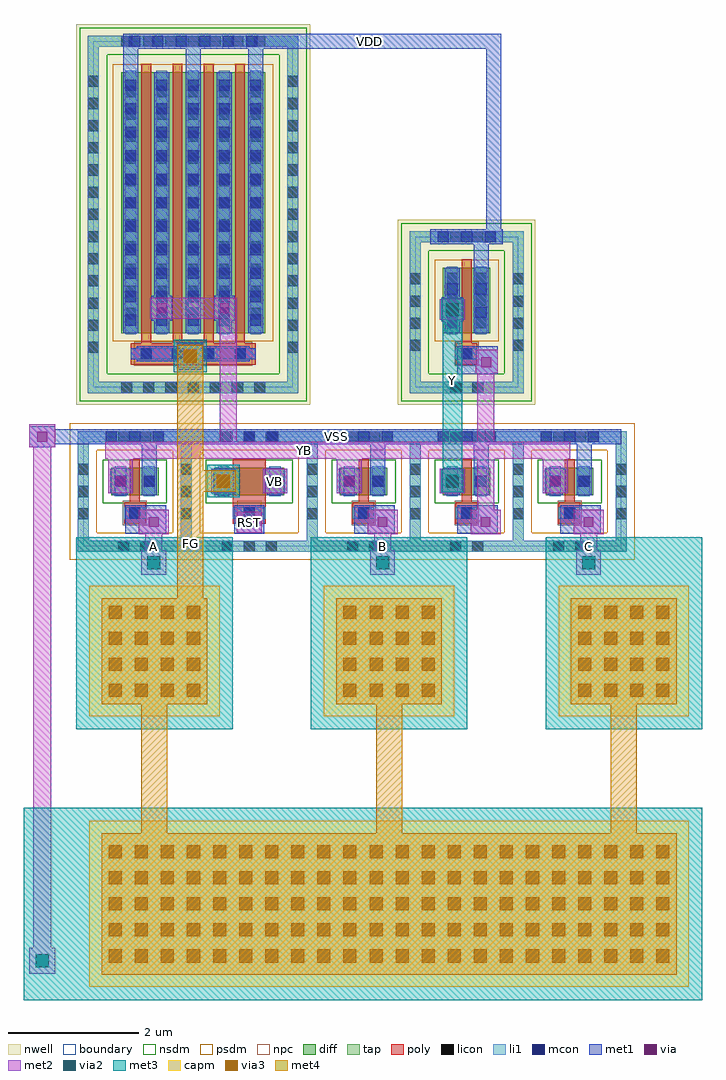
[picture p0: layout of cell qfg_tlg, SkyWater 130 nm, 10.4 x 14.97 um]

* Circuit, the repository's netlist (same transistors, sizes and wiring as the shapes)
* schematic netlist of the v2 cell (generated from sim/v2/ngs.py)

.subckt qfg_tlg A B C RST VB Y YB FG VDD VSS
XMP  YB FG VDD VDD sky130_fd_pr__pfet_01v8 W=16.0 L=0.15
XMNI0 YB A VSS VSS sky130_fd_pr__nfet_01v8 W=0.42 L=0.15
XMNI1 YB B VSS VSS sky130_fd_pr__nfet_01v8 W=0.42 L=0.15
XMNI2 YB C VSS VSS sky130_fd_pr__nfet_01v8 W=0.42 L=0.15
XCI0 FG A sky130_fd_pr__cap_mim_m3_1 W=2.0 L=2.0 MF=1
XCI1 FG B sky130_fd_pr__cap_mim_m3_1 W=2.0 L=2.0 MF=1
XCI2 FG C sky130_fd_pr__cap_mim_m3_1 W=2.0 L=2.0 MF=1
XCBL FG VSS sky130_fd_pr__cap_mim_m3_1 W=9.2 L=2.55 MF=1
XMR  FG RST VB VSS sky130_fd_pr__nfet_01v8 W=0.42 L=0.5
XIP  Y  YB VDD VDD sky130_fd_pr__pfet_01v8 W=1.0 L=0.15
XIN  Y  YB VSS VSS sky130_fd_pr__nfet_01v8 W=0.42 L=0.15
.ends qfg_tlg

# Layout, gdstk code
import gdstk
lib = gdstk.Library(unit=1e-6, precision=1e-09)
def R(c, l, rs):  # rectangles x0, y0, x1, y1
    for r in rs: c.add(gdstk.rectangle(r[:2], r[2:], *l))
def A(c, l, x, y, w, h, nx, ny, dx, dy):  # array of equal rectangles
    R(c, l, [(x+i*dx, y+j*dy, x+i*dx+w, y+j*dy+h) for i in range(nx) for j in range(ny)])
nwell = (64, 20)
diff = (65, 20)
tap = (65, 44)
poly = (66, 20)
licon = (66, 44)
li1 = (67, 20)
mcon = (67, 44)
met1 = (68, 20)
via = (68, 44)
met2 = (69, 20)
via2 = (69, 44)
met3 = (70, 20)
via3 = (70, 44)
met4 = (71, 20)
capm = (89, 44)
nsdm = (93, 44)
psdm = (94, 20)
npc = (95, 20)
boundary = (235, 4)

sky130_fd_pr__nfet_01v8_ = lib.new_cell('sky130_fd_pr__nfet_01v8_EQ7N4B')
R(sky130_fd_pr__nfet_01v8_, diff, [(-0.54,-0.055,0.54,0.365)])
R(sky130_fd_pr__nfet_01v8_, tap, [(-1.05,-0.925,1.05,-0.755), (-1.05,-0.755,-0.88,0.755), (0.88,-0.755,1.05,0.755), (-1.05,0.755,1.05,0.925)])
R(sky130_fd_pr__nfet_01v8_, poly, [(-0.25,-0.495,0.25,0.495)])
A(sky130_fd_pr__nfet_01v8_, licon, -0.425, -0.925, 0.17, 0.17, 3, 2, 0.34, 1.68)
A(sky130_fd_pr__nfet_01v8_, licon, -1.05, -0.425, 0.17, 0.17, 1, 3, 0, 0.34)
A(sky130_fd_pr__nfet_01v8_, licon, 0.88, -0.425, 0.17, 0.17, 1, 3, 0, 0.34)
R(sky130_fd_pr__nfet_01v8_, licon, [(-0.085,-0.415,0.085,-0.245), (-0.48,0.07,-0.31,0.24), (0.31,0.07,0.48,0.24)])
R(sky130_fd_pr__nfet_01v8_, li1, [(-1.05,-0.925,1.05,-0.755), (-1.05,-0.755,-0.88,0.755), (0.88,-0.755,1.05,0.755), (-0.25,-0.415,0.25,-0.245), (-0.48,-0.075,-0.31,0.385), (0.31,-0.075,0.48,0.385), (-1.05,0.755,1.05,0.925)])
A(sky130_fd_pr__nfet_01v8_, mcon, -0.445, 0.755, 0.17, 0.17, 3, 1, 0.36, 0)
R(sky130_fd_pr__nfet_01v8_, mcon, [(-0.085,-0.415,0.085,-0.245), (-0.48,0.07,-0.31,0.24), (0.31,0.07,0.48,0.24)])
R(sky130_fd_pr__nfet_01v8_, met1, [(-0.23,-0.445,0.23,-0.215), (-0.51,-0.055,-0.28,0.365), (0.28,-0.055,0.51,0.365), (-0.675,0.725,0.675,0.955)])
R(sky130_fd_pr__nfet_01v8_, nsdm, [(-0.665,-0.18,0.665,0.49)])
R(sky130_fd_pr__nfet_01v8_, psdm, [(-1.175,-1.05,1.175,-0.63), (-1.175,-0.63,-0.755,0.63), (0.755,-0.63,1.175,0.63), (-1.175,0.63,1.175,1.05)])
R(sky130_fd_pr__nfet_01v8_, npc, [(-0.185,-0.515,0.185,-0.145)])
R(sky130_fd_pr__nfet_01v8_, boundary, [(-0.965,-0.84,0.965,0.84)])
sky130_fd_pr__nfet_01v8_.add(gdstk.Label('B', (0,-0.84), layer=67, texttype=5))
sky130_fd_pr__nfet_01v8_.add(gdstk.Label('D', (-0.395,0.155), layer=67, texttype=5))
sky130_fd_pr__nfet_01v8_.add(gdstk.Label('S', (0.395,0.155), layer=67, texttype=5))
sky130_fd_pr__nfet_01v8_.add(gdstk.Label('G', (0,-0.33), layer=67, texttype=5))

sky130_fd_pr__pfet_01v8_ = lib.new_cell('sky130_fd_pr__pfet_01v8_V7R9RB')
R(sky130_fd_pr__pfet_01v8_, nwell, [(-1.795,-2.92,1.795,2.92)])
R(sky130_fd_pr__pfet_01v8_, diff, [(-1.105,-1.82,1.105,2.18)])
R(sky130_fd_pr__pfet_01v8_, tap, [(-1.615,-2.74,1.615,-2.57), (-1.615,-2.57,-1.445,2.57), (1.445,-2.57,1.615,2.57), (-1.615,2.57,1.615,2.74)])
A(sky130_fd_pr__pfet_01v8_, poly, -0.795, -1.975, 0.15, 4.285, 4, 1, 0.48, 0)
R(sky130_fd_pr__pfet_01v8_, poly, [(-0.96,-2.305,0.96,-1.975)])
A(sky130_fd_pr__pfet_01v8_, licon, -1.105, -2.74, 0.17, 0.17, 7, 2, 0.34, 5.31)
A(sky130_fd_pr__pfet_01v8_, licon, -0.805, -2.225, 0.17, 0.17, 4, 1, 0.48, 0)
A(sky130_fd_pr__pfet_01v8_, licon, -1.615, -2.125, 0.17, 0.17, 1, 13, 0, 0.34)
A(sky130_fd_pr__pfet_01v8_, licon, 1.445, -2.125, 0.17, 0.17, 1, 13, 0, 0.34)
A(sky130_fd_pr__pfet_01v8_, licon, -1.045, -1.605, 0.17, 0.17, 5, 11, 0.48, 0.34)
A(sky130_fd_pr__pfet_01v8_, li1, -1.045, -1.84, 0.17, 4.04, 5, 1, 0.48, 0)
R(sky130_fd_pr__pfet_01v8_, li1, [(-1.615,-2.74,1.615,-2.57), (-1.615,-2.57,-1.445,2.57), (1.445,-2.57,1.615,2.57), (-0.96,-2.225,0.96,-2.055), (-1.615,2.57,1.615,2.74)])
A(sky130_fd_pr__pfet_01v8_, mcon, -0.805, -2.225, 0.17, 0.17, 4, 1, 0.48, 0)
A(sky130_fd_pr__pfet_01v8_, mcon, -1.045, -1.705, 0.17, 0.17, 5, 11, 0.48, 0.36)
A(sky130_fd_pr__pfet_01v8_, mcon, -0.985, 2.57, 0.17, 0.17, 6, 1, 0.36, 0)
A(sky130_fd_pr__pfet_01v8_, met1, -0.865, -2.255, 0.29, 0.03, 4, 2, 0.48, 0.2)
A(sky130_fd_pr__pfet_01v8_, met1, -1.075, -1.82, 0.23, 4, 5, 1, 0.48, 0)
R(sky130_fd_pr__pfet_01v8_, met1, [(-0.96,-2.225,0.96,-2.055), (-1.07,2.54,1.07,2.77)])
R(sky130_fd_pr__pfet_01v8_, nsdm, [(-1.74,-2.865,1.74,-2.445), (-1.74,-2.445,-1.32,2.445), (1.32,-2.445,1.74,2.445), (-1.74,2.445,1.74,2.865)])
R(sky130_fd_pr__pfet_01v8_, psdm, [(-1.23,-1.945,1.23,2.305)])
R(sky130_fd_pr__pfet_01v8_, npc, [(-0.905,-2.325,0.905,-1.955)])
R(sky130_fd_pr__pfet_01v8_, boundary, [(-1.53,-2.655,1.53,2.655)])
sky130_fd_pr__pfet_01v8_.add(gdstk.Label('B', (0,-2.655), layer=67, texttype=5))
sky130_fd_pr__pfet_01v8_.add(gdstk.Label('D0', (-0.96,0.18), layer=67, texttype=5))
sky130_fd_pr__pfet_01v8_.add(gdstk.Label('G', (0.72,-2.14), layer=67, texttype=5))
sky130_fd_pr__pfet_01v8_.add(gdstk.Label('G', (-0.24,-2.14), layer=67, texttype=5))
sky130_fd_pr__pfet_01v8_.add(gdstk.Label('G', (0.24,-2.14), layer=67, texttype=5))
sky130_fd_pr__pfet_01v8_.add(gdstk.Label('G', (-0.72,-2.14), layer=67, texttype=5))
sky130_fd_pr__pfet_01v8_.add(gdstk.Label('S1', (-0.48,0.18), layer=67, texttype=5))
sky130_fd_pr__pfet_01v8_.add(gdstk.Label('D2', (0,0.18), layer=67, texttype=5))
sky130_fd_pr__pfet_01v8_.add(gdstk.Label('S3', (0.48,0.18), layer=67, texttype=5))

c_sky130_fd_pr__nfet_01v8_ = lib.new_cell('sky130_fd_pr__nfet_01v8_M48NH5')
R(c_sky130_fd_pr__nfet_01v8_, diff, [(-0.365,-0.055,0.365,0.365)])
R(c_sky130_fd_pr__nfet_01v8_, tap, [(-0.875,-0.925,0.875,-0.755), (-0.875,-0.755,-0.705,0.755), (0.705,-0.755,0.875,0.755), (-0.875,0.755,0.875,0.925)])
R(c_sky130_fd_pr__nfet_01v8_, poly, [(-0.165,-0.495,0.165,-0.165), (-0.075,-0.165,0.075,0.495)])
A(c_sky130_fd_pr__nfet_01v8_, licon, -0.875, -0.425, 0.17, 0.17, 1, 3, 0, 0.34)
A(c_sky130_fd_pr__nfet_01v8_, licon, 0.705, -0.425, 0.17, 0.17, 1, 3, 0, 0.34)
R(c_sky130_fd_pr__nfet_01v8_, licon, [(-0.255,-0.925,-0.085,-0.755), (0.085,-0.925,0.255,-0.755), (-0.085,-0.415,0.085,-0.245), (-0.305,0.07,-0.135,0.24), (0.135,0.07,0.305,0.24), (-0.255,0.755,-0.085,0.925), (0.085,0.755,0.255,0.925)])
R(c_sky130_fd_pr__nfet_01v8_, li1, [(-0.875,-0.925,0.875,-0.755), (-0.875,-0.755,-0.705,0.755), (0.705,-0.755,0.875,0.755), (-0.165,-0.415,0.165,-0.245), (-0.305,-0.075,-0.135,0.385), (0.135,-0.075,0.305,0.385), (-0.875,0.755,0.875,0.925)])
A(c_sky130_fd_pr__nfet_01v8_, mcon, -0.445, 0.755, 0.17, 0.17, 3, 1, 0.36, 0)
R(c_sky130_fd_pr__nfet_01v8_, mcon, [(-0.085,-0.415,0.085,-0.245), (-0.305,0.07,-0.135,0.24), (0.135,0.07,0.305,0.24)])
R(c_sky130_fd_pr__nfet_01v8_, met1, [(-0.145,-0.445,0.145,-0.215), (-0.335,-0.055,-0.105,0.365), (0.105,-0.055,0.335,0.365), (-0.555,0.725,0.555,0.955)])
R(c_sky130_fd_pr__nfet_01v8_, nsdm, [(-0.49,-0.18,0.49,0.49)])
R(c_sky130_fd_pr__nfet_01v8_, psdm, [(-1,-1.05,1,-0.63), (-1,-0.63,-0.58,0.63), (0.58,-0.63,1,0.63), (-1,0.63,1,1.05)])
R(c_sky130_fd_pr__nfet_01v8_, npc, [(-0.185,-0.515,0.185,-0.145)])
R(c_sky130_fd_pr__nfet_01v8_, boundary, [(-0.79,-0.84,0.79,0.84)])
c_sky130_fd_pr__nfet_01v8_.add(gdstk.Label('B', (0,-0.84), layer=67, texttype=5))
c_sky130_fd_pr__nfet_01v8_.add(gdstk.Label('D', (-0.22,0.155), layer=67, texttype=5))
c_sky130_fd_pr__nfet_01v8_.add(gdstk.Label('S', (0.22,0.155), layer=67, texttype=5))
c_sky130_fd_pr__nfet_01v8_.add(gdstk.Label('G', (0,-0.33), layer=67, texttype=5))

c_sky130_fd_pr__pfet_01v8_ = lib.new_cell('sky130_fd_pr__pfet_01v8_SEBX2B')
R(c_sky130_fd_pr__pfet_01v8_, nwell, [(-1.055,-1.42,1.055,1.42)])
R(c_sky130_fd_pr__pfet_01v8_, diff, [(-0.365,-0.32,0.365,0.68)])
R(c_sky130_fd_pr__pfet_01v8_, tap, [(-0.875,-1.24,0.875,-1.07), (-0.875,-1.07,-0.705,1.07), (0.705,-1.07,0.875,1.07), (-0.875,1.07,0.875,1.24)])
R(c_sky130_fd_pr__pfet_01v8_, poly, [(-0.165,-0.805,0.165,-0.475), (-0.075,-0.475,0.075,0.81)])
A(c_sky130_fd_pr__pfet_01v8_, licon, -0.875, -0.595, 0.17, 0.17, 1, 4, 0, 0.34)
A(c_sky130_fd_pr__pfet_01v8_, licon, 0.705, -0.595, 0.17, 0.17, 1, 4, 0, 0.34)
A(c_sky130_fd_pr__pfet_01v8_, licon, -0.305, -0.245, 0.17, 0.17, 1, 3, 0, 0.34)
A(c_sky130_fd_pr__pfet_01v8_, licon, 0.135, -0.245, 0.17, 0.17, 1, 3, 0, 0.34)
R(c_sky130_fd_pr__pfet_01v8_, licon, [(-0.255,-1.24,-0.085,-1.07), (0.085,-1.24,0.255,-1.07), (-0.085,-0.725,0.085,-0.555), (-0.255,1.07,-0.085,1.24), (0.085,1.07,0.255,1.24)])
R(c_sky130_fd_pr__pfet_01v8_, li1, [(-0.875,-1.24,0.875,-1.07), (-0.875,-1.07,-0.705,1.07), (0.705,-1.07,0.875,1.07), (-0.165,-0.725,0.165,-0.555), (-0.305,-0.34,-0.135,0.7), (0.135,-0.34,0.305,0.7), (-0.875,1.07,0.875,1.24)])
A(c_sky130_fd_pr__pfet_01v8_, mcon, -0.445, 1.07, 0.17, 0.17, 3, 1, 0.36, 0)
R(c_sky130_fd_pr__pfet_01v8_, mcon, [(-0.085,-0.725,0.085,-0.555), (-0.305,-0.085,-0.135,0.085), (0.135,-0.085,0.305,0.085), (-0.305,0.275,-0.135,0.445), (0.135,0.275,0.305,0.445)])
R(c_sky130_fd_pr__pfet_01v8_, met1, [(-0.145,-0.755,0.145,-0.525), (-0.335,-0.32,-0.105,0.68), (0.105,-0.32,0.335,0.68), (-0.555,1.04,0.555,1.27)])
R(c_sky130_fd_pr__pfet_01v8_, nsdm, [(-1,-1.365,1,-0.945), (-1,-0.945,-0.58,0.945), (0.58,-0.945,1,0.945), (-1,0.945,1,1.365)])
R(c_sky130_fd_pr__pfet_01v8_, psdm, [(-0.49,-0.445,0.49,0.805)])
R(c_sky130_fd_pr__pfet_01v8_, npc, [(-0.185,-0.825,0.185,-0.455)])
R(c_sky130_fd_pr__pfet_01v8_, boundary, [(-0.79,-1.155,0.79,1.155)])
c_sky130_fd_pr__pfet_01v8_.add(gdstk.Label('B', (0,-1.155), layer=67, texttype=5))
c_sky130_fd_pr__pfet_01v8_.add(gdstk.Label('D', (-0.22,0.18), layer=67, texttype=5))
c_sky130_fd_pr__pfet_01v8_.add(gdstk.Label('S', (0.22,0.18), layer=67, texttype=5))
c_sky130_fd_pr__pfet_01v8_.add(gdstk.Label('G', (0,-0.64), layer=67, texttype=5))

qfg_tlg = lib.new_cell('qfg_tlg')
A(qfg_tlg, met1, 4.265, 7.15, 0.625, 0.435, 3, 1, 1.58, 0)
A(qfg_tlg, met1, 4.03, 7.77, 0.32, 0.38, 3, 1, 1.58, 0)
A(qfg_tlg, met1, 4.515, 8.1, 0.23, 0.425, 3, 1, 1.58, 0)
R(qfg_tlg, met1, [(0.755,7.15,1.38,7.585), (2.425,7.15,2.885,7.585), (0.52,7.77,0.84,8.15), (2.1,7.77,2.42,8.15), (2.89,7.77,3.21,8.15), (1.005,8.1,1.235,8.525), (-0.72,8.48,-0.32,8.525), (-0.72,8.525,8.36,8.755), (-0.72,8.755,-0.32,8.8), (5.845,9.6,6.47,10.025), (1.55,9.67,1.95,9.795), (0.93,9.795,2.66,10.025), (1.55,10.025,1.95,10.08), (5.61,10.4,5.93,10.78), (1.155,10.42,1.475,10.8), (2.115,10.42,2.435,10.8), (6.095,11.2,6.325,11.59), (6.095,11.59,6.52,11.61), (6.29,11.61,6.52,14.59), (0.72,14.2,0.95,14.61), (1.68,14.2,1.91,14.59), (2.64,14.2,2.87,14.59), (1.395,14.59,6.52,14.82)])
A(qfg_tlg, via, 4.625, 7.255, 0.15, 0.15, 3, 1, 1.58, 0)
A(qfg_tlg, via, 4.115, 7.885, 0.15, 0.15, 3, 1, 1.58, 0)
R(qfg_tlg, via, [(1.115,7.255,1.265,7.405), (2.58,7.255,2.73,7.405), (0.605,7.885,0.755,8.035), (2.185,7.885,2.335,8.035), (2.975,7.885,3.125,8.035), (-0.595,8.565,-0.445,8.715), (6.215,9.705,6.365,9.855), (1.675,9.8,1.825,9.95), (5.695,10.515,5.845,10.665), (1.24,10.535,1.39,10.685), (2.2,10.535,2.35,10.685)])
A(qfg_tlg, met2, 4.47, 7.14, 0.46, 0.38, 3, 1, 1.58, 0)
R(qfg_tlg, met2, [(-0.72,0.4,-0.32,0.8), (-0.66,0.8,-0.38,8.48), (1,6.52,1.38,6.9), (4.51,6.52,4.89,6.9), (7.67,6.52,8.05,6.9), (1.06,6.9,1.32,7.14), (4.57,6.9,4.83,7.14), (7.73,6.9,7.99,7.14), (0.96,7.14,1.42,7.52), (2.465,7.17,2.845,7.49), (6.15,7.52,6.41,8.3), (0.49,7.77,0.87,8.3), (2.07,7.77,2.45,8.15), (2.86,7.77,3.24,8.15), (4,7.77,4.38,8.3), (5.58,7.77,5.96,8.15), (7.16,7.77,7.54,8.3), (0.45,8.3,7.58,8.56), (-0.72,8.48,-0.32,8.83), (2.2,8.56,2.46,10.45), (6.15,8.56,6.41,9.62), (6.13,9.62,6.47,9.97), (1.56,9.7,1.94,10.05), (5.58,10.43,5.96,10.75), (1.135,10.45,2.46,10.77)])
R(qfg_tlg, via2, [(-0.62,0.5,-0.42,0.7), (1.09,6.61,1.29,6.81), (4.6,6.61,4.8,6.81), (7.76,6.61,7.96,6.81), (2.16,7.86,2.36,8.06), (5.67,7.86,5.87,8.06), (1.65,9.775,1.85,9.975), (5.67,10.49,5.87,10.69)])
A(qfg_tlg, met3, 0, 4.15, 2.4, 2.95, 3, 1, 3.6, 0)
R(qfg_tlg, met3, [(-0.8,0,9.6,2.95), (2.01,7.71,2.51,8.21), (5.6,7.79,5.94,8.13), (5.62,8.13,5.92,10.42), (1.5,9.625,2,10.125), (5.6,10.42,5.94,10.76)])
A(qfg_tlg, via3, 0.5, 0.575, 0.2, 0.2, 22, 5, 0.4, 0.4)
A(qfg_tlg, via3, 0.5, 4.65, 0.2, 0.2, 4, 4, 0.4, 0.4)
A(qfg_tlg, via3, 4.1, 4.65, 0.2, 0.2, 4, 4, 0.4, 0.4)
A(qfg_tlg, via3, 7.7, 4.65, 0.2, 0.2, 4, 4, 0.4, 0.4)
R(qfg_tlg, via3, [(2.16,7.86,2.36,8.06), (1.65,9.775,1.85,9.975)])
A(qfg_tlg, met4, 1, 2.56, 0.4, 1.98, 3, 1, 3.6, 0)
A(qfg_tlg, met4, 0.39, 4.54, 1.62, 1.62, 3, 1, 3.6, 0)
R(qfg_tlg, met4, [(0.39,0.39,9.21,2.56), (1.55,6.16,1.95,7.795), (1.55,7.795,2.45,8.125), (1.55,8.125,1.95,10.05)])
A(qfg_tlg, capm, 0.2, 4.35, 2, 2, 3, 1, 3.6, 0)
R(qfg_tlg, capm, [(0.2,0.2,9.4,2.75)])
qfg_tlg.add(gdstk.Reference(sky130_fd_pr__nfet_01v8_, (2.655,7.8)))
qfg_tlg.add(gdstk.Reference(sky130_fd_pr__pfet_01v8_, (1.795,12.05)))
qfg_tlg.add(gdstk.Reference(c_sky130_fd_pr__nfet_01v8_, (7.57,7.8)))
qfg_tlg.add(gdstk.Reference(c_sky130_fd_pr__nfet_01v8_, (4.41,7.8)))
qfg_tlg.add(gdstk.Reference(c_sky130_fd_pr__nfet_01v8_, (0.9,7.8)))
qfg_tlg.add(gdstk.Reference(c_sky130_fd_pr__pfet_01v8_, (5.99,10.55)))
qfg_tlg.add(gdstk.Reference(c_sky130_fd_pr__nfet_01v8_, (5.99,7.8)))
qfg_tlg.add(gdstk.Label('A', (1.19,6.95), layer=70, texttype=5))
qfg_tlg.add(gdstk.Label('B', (4.7,6.95), layer=70, texttype=5))
qfg_tlg.add(gdstk.Label('C', (7.86,6.95), layer=70, texttype=5))
qfg_tlg.add(gdstk.Label('VB', (3.05,7.96), layer=69, texttype=5))
qfg_tlg.add(gdstk.Label('RST', (2.655,7.33), layer=69, texttype=5))
qfg_tlg.add(gdstk.Label('FG', (1.75,7), layer=71, texttype=5))
qfg_tlg.add(gdstk.Label('Y', (5.77,9.5), layer=70, texttype=5))
qfg_tlg.add(gdstk.Label('YB', (3.5,8.43), layer=69, texttype=5))
qfg_tlg.add(gdstk.Label('VDD', (4.5,14.705), layer=68, texttype=5))
qfg_tlg.add(gdstk.Label('VSS', (4,8.64), layer=68, texttype=5))

lib.write_gds('qfg_tlg.gds')
